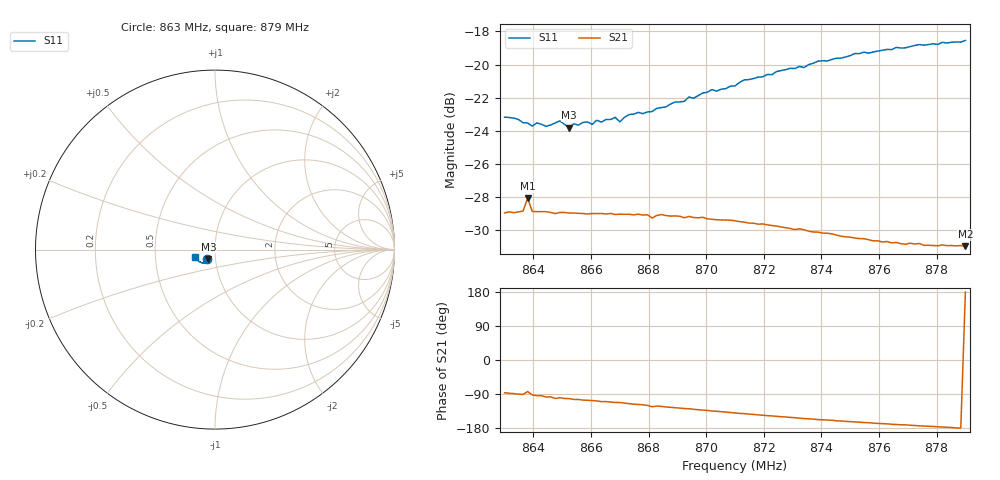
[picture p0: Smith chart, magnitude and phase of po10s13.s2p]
# HZ S RI R 50
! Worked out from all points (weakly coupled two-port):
!   101 points, 863 MHz to 879 MHz, reference 50 ohm
!   highest |S21| = -28.07 dB at 863.8 MHz (marker M1); lowest = -31.0 dB at 879 MHz (marker M2)
!   lowest |S11| = -23.8 dB at 865.24 MHz (marker M3), VSWR 1.14, Z = 46.2 - j4.95 ohm
!   |S11| at or under -10 dB: start of sweep to end of sweep
!   S12 and S22 are empty: the file has one direction only
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8.63e8  -0.045 -0.0528  0.00228 -0.0355  0 0  0 0
8.6364e8  -0.0412 -0.0525  -0.000455 -0.0361  0 0  0 0
8.638e8  -0.0343 -0.0571  0.00456 -0.0392  0 0  0 0
8.6396e8  -0.0382 -0.0528  -0.0014 -0.036  0 0  0 0
8.6412e8  -0.0414 -0.0522  -0.00251 -0.0358  0 0  0 0
8.6444e8  -0.0379 -0.0529  -0.00481 -0.0356  0 0  0 0
8.6492e8  -0.0395 -0.0548  -0.00594 -0.0352  0 0  0 0
8.6524e8  -0.0363 -0.0533  -0.00731 -0.0348  0 0  0 0
8.6572e8  -0.0349 -0.057  -0.00963 -0.0341  0 0  0 0
8.6604e8  -0.0342 -0.0564  -0.0104 -0.0339  0 0  0 0
8.662e8  -0.0356 -0.0578  -0.0109 -0.0337  0 0  0 0
8.6684e8  -0.0349 -0.0598  -0.0132 -0.0327  0 0  0 0
8.67e8  -0.0366 -0.0563  -0.0133 -0.0327  0 0  0 0
8.6732e8  -0.0345 -0.0616  -0.015 -0.0319  0 0  0 0
8.6812e8  -0.0351 -0.063  -0.0189 -0.0287  0 0  0 0
8.6844e8  -0.0353 -0.0652  -0.0189 -0.0297  0 0  0 0
8.702e8  -0.0423 -0.0726  -0.0239 -0.0243  0 0  0 0
8.71e8  -0.046 -0.0729  -0.0257 -0.0218  0 0  0 0
8.7132e8  -0.05 -0.0747  -0.0261 -0.0208  0 0  0 0
8.7372e8  -0.0674 -0.0751  -0.0285 -0.0126  0 0  0 0
8.7644e8  -0.0919 -0.0622  -0.0284 -0.00522  0 0  0 0
8.79e8  -0.1117 -0.039  -0.0283 0.000368  0 0  0 0
